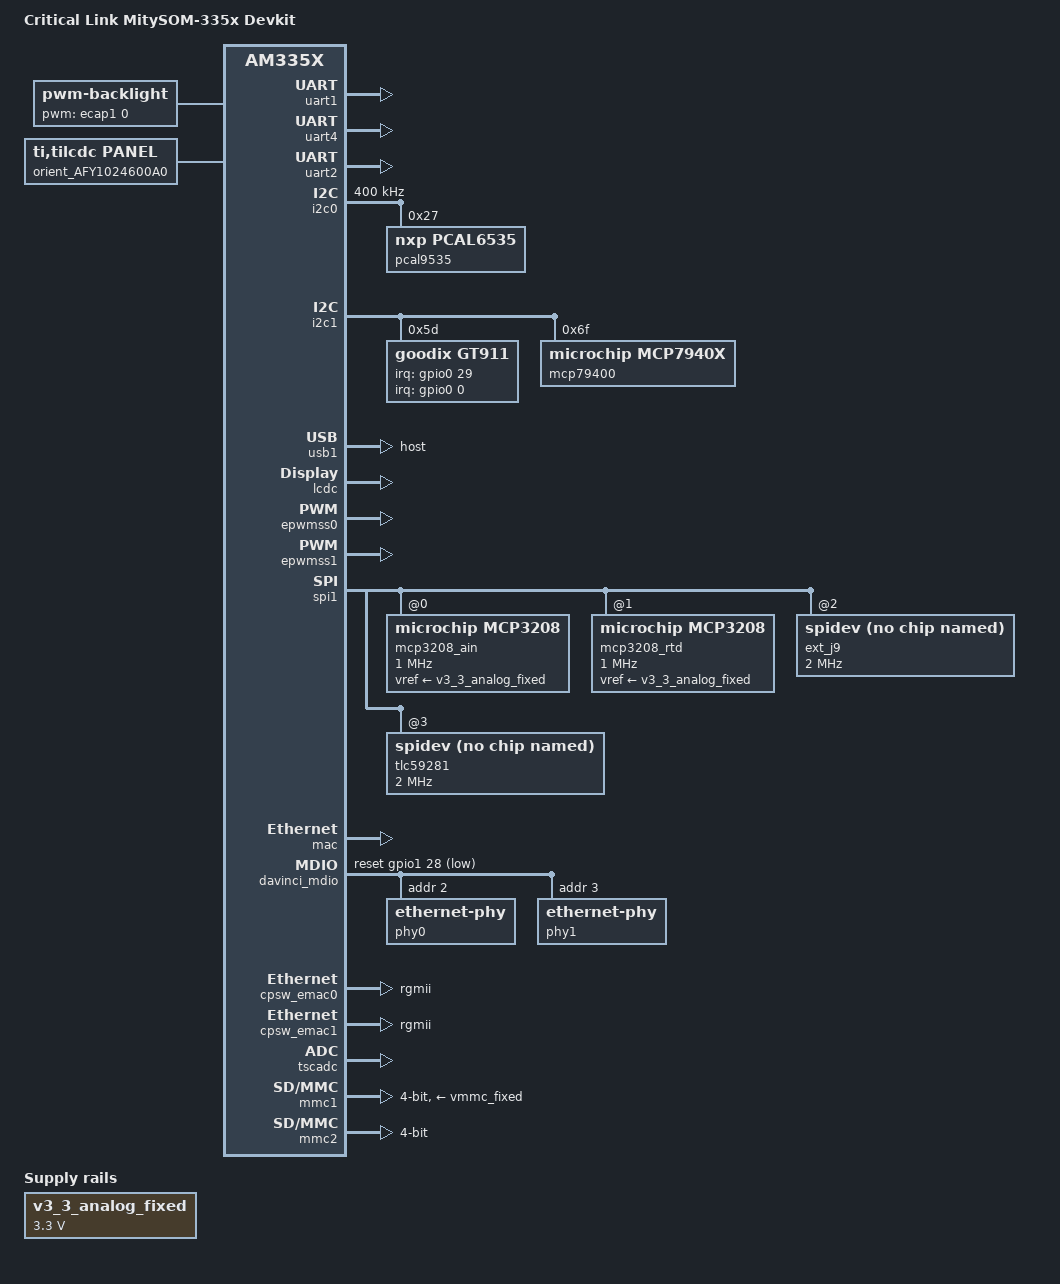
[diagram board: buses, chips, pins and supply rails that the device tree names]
/*
 * Copyright (C) 2012 Texas Instruments Incorporated - http://www.ti.com/
 *
 * This program is free software; you can redistribute it and/or modify
 * it under the terms of the GNU General Public License version 2 as
 * published by the Free Software Foundation.
 */
/dts-v1/;

#include "am335x-mitysom-common.dtsi"

/ {
	model = "Critical Link MitySOM-335x Devkit";

	backlight {
		compatible = "pwm-backlight";
		pwms = <&ecap1 0 50000 0>;
		brightness-levels = <0 51 53 56 62 75 101 152 255>;
		default-brightness-level = <8>;
	};

	orient_AFY1024600A0: lcd-controller@1 {
		compatible = "ti,tilcdc,panel";
		pinctrl-names = "default", "sleep";
		pinctrl-0 = <&lcd_pins_default>;
		pinctrl-1 = <&lcd_pins_sleep>;
		status = "ok";
		model = "orient,AFY1024600A0";
		panel-info {
			ac-bias           = <255>;
			ac-bias-intrpt    = <0>;
			dma-burst-sz      = <16>;
			bpp               = <32>;
			fdd               = <0x80>;
			sync-edge         = <0>;
			sync-ctrl         = <1>;
			raster-order      = <0>;
			fifo-th           = <0>;
		};
		display-timings {
			1024x600 {
				clock-frequency = <51200000>;
				hactive = <1024>;
				vactive = <600>;
				hsync-len = <136>;  //DS 136+24+60==320
				hfront-porch = <24>;
				hback-porch = <60>;
				vsync-len = <6>; // 26+3+6=35
				vfront-porch = <3>;
				vback-porch = <26>;
				hsync-active = <1>;
				vsync-active = <1>;
			};
		};
	};
};

&am33xx_pinmux {
	pinctrl-names = "default";
	pinctrl-0 = <&gpio_pins>;

	i2c0_pins: pinmux_i2c0_pins {
		pinctrl-single,pins = <
			AM33XX_IOPAD(0x988, PIN_INPUT_PULLUP | MUX_MODE0)	/* i2c0_sda.i2c0_sda external pullup */
			AM33XX_IOPAD(0x98C, PIN_INPUT_PULLUP | MUX_MODE0)	/* i2c0_scl.i2c0_scl external pullup */
		>;
	};

	/* MODBUS 1 */
	uart1_pins: pinmux_uart1_pins {
		pinctrl-single,pins = <
			AM33XX_IOPAD(0x958, PIN_INPUT_PULLDOWN | MUX_MODE7)	/* spi0_d1.gpio0_4 UART1_DIR */
			AM33XX_IOPAD(0x980, PIN_INPUT_PULLUP | MUX_MODE0)	/* uart1_rxd.uart1_rxd UART1_RX */
			AM33XX_IOPAD(0x984, PIN_OUTPUT_PULLDOWN | MUX_MODE0)	/* uart1_txd.uart1_txd UART1_TX */
		>;
	};

	/* MODBUS 2 */
	uart4_pins: pinmux_uart0_pins {
		pinctrl-single,pins = <
			AM33XX_IOPAD(0x838, PIN_INPUT_PULLDOWN | MUX_MODE7)	/* gpmc_ad14.gpio1_14 UART4_DIR */
			AM33XX_IOPAD(0x968, PIN_INPUT_PULLUP | MUX_MODE1)	/* uart0_ctsn.uart4_rxd UART4_RXD */
			AM33XX_IOPAD(0x96C, PIN_OUTPUT_PULLDOWN | MUX_MODE1)	/* uart0_rtsn.uart4_txd UART4_TXD */
		>;
	};

	/* ESP32 Uart */
	uart2_pins: pinmux_uart2_pins {
		pinctrl-single,pins = <
			AM33XX_IOPAD(0x950, PIN_INPUT | MUX_MODE1)		/* spi0_sclk.uart2_rxd U2RX */
			AM33XX_IOPAD(0x954, PIN_OUTPUT | MUX_MODE1)		/* spi0_d0.uart2_txd U2TX */
		>;
	};

	/* Conflicts with SPINOR SOMs */
	spi1_pins: pinmux_spi1_pins {
		pinctrl-single,pins = <
			AM33XX_IOPAD(0x83C, PIN_INPUT | MUX_MODE7)		/* gpmc_ad15.gpio1_15 SPI1_CS0 external pullup */
			AM33XX_IOPAD(0x95c, PIN_OUTPUT | MUX_MODE7)		/* spi0_cs0.gpio0_5 SPI1_CS1 external pullup */
			AM33XX_IOPAD(0x990, PIN_OUTPUT | MUX_MODE3)		/* mcasp0_aclkx.spi1_sclk */
			AM33XX_IOPAD(0x994, PIN_INPUT_PULLUP | MUX_MODE3)	/* mcasp0_fsx.spi1_d0 MOSI */
			AM33XX_IOPAD(0x998, PIN_INPUT_PULLDOWN | MUX_MODE3)	/* mcasp0_axr0.spi1_d1 MISO */
			AM33XX_IOPAD(0x99C, PIN_INPUT_PULLUP | MUX_MODE3)	/* mcasp0_ahclkr.spi1_cs0 SOM:CS0*/
			AM33XX_IOPAD(0x9B4, PIN_INPUT | MUX_MODE7)      	/* xdma_event_intr1.gpio0_20 7SEG_CS J16.48 external pullup */
			AM33XX_IOPAD(0xA1C, PIN_OUTPUT | MUX_MODE7)		/* usb0_drvvbus.gpio0_18 SPI1 EXT_CS external pullup */
		>;
	};

	cpsw_default: cpsw_default {
		pinctrl-single,pins = <
			/* Slave 1 */
			AM33XX_IOPAD(0x914, PIN_OUTPUT_PULLDOWN | MUX_MODE2)	/* mii1_txen.rgmii1_tctl */
			AM33XX_IOPAD(0x918, PIN_INPUT_PULLDOWN | MUX_MODE2)	/* mii1_rxdv.rgmii1_rctl */
			AM33XX_IOPAD(0x91c, PIN_OUTPUT_PULLDOWN | MUX_MODE2)	/* mii1_txd3.rgmii1_td3 */
			AM33XX_IOPAD(0x920, PIN_OUTPUT_PULLDOWN | MUX_MODE2)	/* mii1_txd2.rgmii1_td2 */
			AM33XX_IOPAD(0x924, PIN_OUTPUT_PULLDOWN | MUX_MODE2)	/* mii1_txd1.rgmii1_td1 */
			AM33XX_IOPAD(0x928, PIN_OUTPUT_PULLDOWN | MUX_MODE2)	/* mii1_txd0.rgmii1_td0 */
			AM33XX_IOPAD(0x92c, PIN_OUTPUT_PULLDOWN | MUX_MODE2)	/* mii1_txclk.rgmii1_tclk */
			AM33XX_IOPAD(0x930, PIN_INPUT_PULLDOWN | MUX_MODE2)	/* mii1_rxclk.rgmii1_rclk */
			AM33XX_IOPAD(0x934, PIN_INPUT_PULLDOWN | MUX_MODE2)	/* mii1_rxd3.rgmii1_rd3 */
			AM33XX_IOPAD(0x938, PIN_INPUT_PULLDOWN | MUX_MODE2)	/* mii1_rxd2.rgmii1_rd2 */
			AM33XX_IOPAD(0x93c, PIN_INPUT_PULLDOWN | MUX_MODE2)	/* mii1_rxd1.rgmii1_rd1 */
			AM33XX_IOPAD(0x940, PIN_INPUT_PULLDOWN | MUX_MODE2)	/* mii1_rxd0.rgmii1_rd0 */
			AM33XX_IOPAD(0x908, PIN_INPUT | MUX_MODE7)		/* mii1_col.gpio3_0 MII1_PHY_INTN external pullup */
			AM33XX_IOPAD(0x9A8, PIN_INPUT_PULLUP | MUX_MODE7) 	/* mcasp0_axr1.gpio3_20 MII1_RESETN */

			/* Slave 2 */
			AM33XX_IOPAD(0x840, PIN_OUTPUT | MUX_MODE2)		/* gpmc_a0.rgmii2_tctl */
			AM33XX_IOPAD(0x844, PIN_INPUT_PULLDOWN | MUX_MODE2)	/* gpmc_a1.rgmii2_rctl */
			AM33XX_IOPAD(0x848, PIN_OUTPUT | MUX_MODE2)		/* gpmc_a2.rgmii2_td3  */
			AM33XX_IOPAD(0x84C, PIN_OUTPUT | MUX_MODE2)		/* gpmc_a3.rgmii2_td2  */
			AM33XX_IOPAD(0x850, PIN_OUTPUT | MUX_MODE2)		/* gpmc_a4.rgmii2_td1  */
			AM33XX_IOPAD(0x854, PIN_OUTPUT | MUX_MODE2)		/* gpmc_a5.rgmii2_td0  */
			AM33XX_IOPAD(0x858, PIN_OUTPUT | MUX_MODE2)		/* gpmc_a6.rgmii2_tclk */
			AM33XX_IOPAD(0x85C, PIN_INPUT_PULLDOWN | MUX_MODE2)	/* gpmc_a7.rgmii2_rclk */
			AM33XX_IOPAD(0x860, PIN_INPUT_PULLDOWN | MUX_MODE2)	/* gpmc_a8.rgmii2_rd3  */
			AM33XX_IOPAD(0x864, PIN_INPUT_PULLDOWN | MUX_MODE2)	/* gpmc_a9.rgmii2_rd2  */
			AM33XX_IOPAD(0x868, PIN_INPUT_PULLDOWN | MUX_MODE2)	/* gpmc_a10.rgmii2_rd1 */
			AM33XX_IOPAD(0x86C, PIN_INPUT_PULLDOWN | MUX_MODE2)	/* gpmc_a11.rgmii2_rd0 */
			AM33XX_IOPAD(0x88c, PIN_INPUT | MUX_MODE7)		/* gpmc_clk.gpio2_1 MII2_PHY_INTN external pullup */
			AM33XX_IOPAD(0x878, PIN_INPUT_PULLUP | MUX_MODE7)	/* gpmc_ben1.gpio1_28 MII2_RESETN */
		>;
	};

	davinci_mdio_default: davinci_mdio_default {
		pinctrl-single,pins = <
			/* MDIO */
			AM33XX_IOPAD(0x948, PIN_INPUT_PULLUP | SLEWCTRL_FAST| MUX_MODE0)	/* mdio_data.mdio_data */
			AM33XX_IOPAD(0x94C, PIN_OUTPUT_PULLUP | MUX_MODE0)			/* mdio_clk.mdio_clk */
		>;
	};

	davinci_mdio_sleep: davinci_mdio_sleep {
		pinctrl-single,pins = <
			/* MDIO reset value */
			AM33XX_IOPAD(0x948, PIN_INPUT_PULLDOWN | MUX_MODE7)
			AM33XX_IOPAD(0x94C, PIN_INPUT_PULLDOWN | MUX_MODE7)
		>;
	};

	/* Setup for MMC0 */
	mmc1_pins_default: pinmux_mmc1_pins {
		pinctrl-single,pins = <
			AM33XX_IOPAD(0x8F0, PIN_INPUT_PULLUP | MUX_MODE0)	/* mmc0_dat3.mmc0_dat3 */
			AM33XX_IOPAD(0x8F4, PIN_INPUT_PULLUP | MUX_MODE0)	/* mmc0_dat2.mmc0_dat2 */
			AM33XX_IOPAD(0x8F8, PIN_INPUT_PULLUP | MUX_MODE0)	/* mmc0_dat1.mmc0_dat1 */
			AM33XX_IOPAD(0x8FC, PIN_INPUT_PULLUP | MUX_MODE0)	/* mmc0_dat0.mmc0_dat0 */
			AM33XX_IOPAD(0x900, PIN_INPUT_PULLUP | MUX_MODE0)	/* mmc0_clk.mmc0_clk */
			AM33XX_IOPAD(0x904, PIN_INPUT_PULLUP | MUX_MODE0)	/* mmc0_cmd.mmc0_cmd */
		>;
	};

	/* Setup for MMC1 */
	wlan_pins_default: pinmux_wlan_pins {
		pinctrl-single,pins = <
			AM33XX_IOPAD(0x820, PIN_INPUT_PULLUP | MUX_MODE2) /* gpmc_ad8.mmc1_dat0 */
			AM33XX_IOPAD(0x824, PIN_INPUT_PULLUP | MUX_MODE2) /* gpmc_ad9.mmc1_dat1 */
			AM33XX_IOPAD(0x828, PIN_INPUT_PULLUP | MUX_MODE2) /* gpmc_ad10.mmc1_dat2 */
			AM33XX_IOPAD(0x82c, PIN_INPUT_PULLUP | MUX_MODE2) /* gpmc_ad11.mmc1_dat3 */
			AM33XX_IOPAD(0x880, PIN_INPUT_PULLUP | MUX_MODE2) /* gpmc_csn1.mmc1_clk */
			AM33XX_IOPAD(0x884, PIN_INPUT_PULLUP | MUX_MODE2) /* gpmc_csn2.mmc1_cmd */
		>;
	};

	lcd_pins_default: lcd_pins_default {
		pinctrl-single,pins = <
			AM33XX_IOPAD(0x8A0, PIN_OUTPUT | MUX_MODE0)		/* lcd_data0.lcd_data0 */
			AM33XX_IOPAD(0x8A4, PIN_OUTPUT | MUX_MODE0)		/* lcd_data1.lcd_data1 */
			AM33XX_IOPAD(0x8A8, PIN_OUTPUT | MUX_MODE0)		/* lcd_data2.lcd_data2 */
			AM33XX_IOPAD(0x8AC, PIN_OUTPUT | MUX_MODE0)		/* lcd_data3.lcd_data3 */
			AM33XX_IOPAD(0x8B0, PIN_OUTPUT | MUX_MODE0)		/* lcd_data4.lcd_data4 */
			AM33XX_IOPAD(0x8B4, PIN_OUTPUT | MUX_MODE0)		/* lcd_data5.lcd_data5 */
			AM33XX_IOPAD(0x8B8, PIN_OUTPUT | MUX_MODE0)		/* lcd_data6.lcd_data6 */
			AM33XX_IOPAD(0x8BC, PIN_OUTPUT | MUX_MODE0)		/* lcd_data7.lcd_data7 */
			AM33XX_IOPAD(0x8C0, PIN_OUTPUT | MUX_MODE0)		/* lcd_data8.lcd_data8 */
			AM33XX_IOPAD(0x8C4, PIN_OUTPUT | MUX_MODE0)		/* lcd_data9.lcd_data9 */
			AM33XX_IOPAD(0x8C8, PIN_OUTPUT | MUX_MODE0)		/* lcd_data10.lcd_data10 */
			AM33XX_IOPAD(0x8CC, PIN_OUTPUT | MUX_MODE0)		/* lcd_data11.lcd_data11 */
			AM33XX_IOPAD(0x8D0, PIN_OUTPUT | MUX_MODE0)		/* lcd_data12.lcd_data12 */
			AM33XX_IOPAD(0x8D4, PIN_OUTPUT | MUX_MODE0)		/* lcd_data13.lcd_data13 */
			AM33XX_IOPAD(0x8D8, PIN_OUTPUT | MUX_MODE0)		/* lcd_data14.lcd_data14 */
			AM33XX_IOPAD(0x8DC, PIN_OUTPUT | MUX_MODE0)		/* lcd_data15.lcd_data15 */
			AM33XX_IOPAD(0x8E0, PIN_OUTPUT_PULLDOWN | MUX_MODE0)	/* lcd_vsync.lcd_vsync */
			AM33XX_IOPAD(0x8E4, PIN_OUTPUT_PULLDOWN | MUX_MODE0)	/* lcd_hsync.lcd_hsync */
			AM33XX_IOPAD(0x8E8, PIN_OUTPUT_PULLDOWN | MUX_MODE0)	/* lcd_pclk.lcd_pclk */
			AM33XX_IOPAD(0x8EC, PIN_OUTPUT_PULLDOWN | MUX_MODE0)	/* lcd_ac_bias_en.lcd_ac_bias_en */
		>;
	};

	lcd_pins_sleep: lcd_pins_sleep {
		pinctrl-single,pins = <
			AM33XX_IOPAD(0x8A0, PULL_DISABLE | MUX_MODE7)		/* lcd_data0.lcd_data0 */
			AM33XX_IOPAD(0x8A4, PULL_DISABLE | MUX_MODE7)		/* lcd_data1.lcd_data1 */
			AM33XX_IOPAD(0x8A8, PULL_DISABLE | MUX_MODE7)		/* lcd_data2.lcd_data2 */
			AM33XX_IOPAD(0x8AC, PULL_DISABLE | MUX_MODE7)		/* lcd_data3.lcd_data3 */
			AM33XX_IOPAD(0x8B0, PULL_DISABLE | MUX_MODE7)		/* lcd_data4.lcd_data4 */
			AM33XX_IOPAD(0x8B4, PULL_DISABLE | MUX_MODE7)		/* lcd_data5.lcd_data5 */
			AM33XX_IOPAD(0x8B8, PULL_DISABLE | MUX_MODE7)		/* lcd_data6.lcd_data6 */
			AM33XX_IOPAD(0x8BC, PULL_DISABLE | MUX_MODE7)		/* lcd_data7.lcd_data7 */
			AM33XX_IOPAD(0x8C0, PULL_DISABLE | MUX_MODE7)		/* lcd_data8.lcd_data8 */
			AM33XX_IOPAD(0x8C4, PULL_DISABLE | MUX_MODE7)		/* lcd_data9.lcd_data9 */
			AM33XX_IOPAD(0x8C8, PULL_DISABLE | MUX_MODE7)		/* lcd_data10.lcd_data10 */
			AM33XX_IOPAD(0x8CC, PULL_DISABLE | MUX_MODE7)		/* lcd_data11.lcd_data11 */
			AM33XX_IOPAD(0x8D0, PULL_DISABLE | MUX_MODE7)		/* lcd_data12.lcd_data12 */
			AM33XX_IOPAD(0x8D4, PULL_DISABLE | MUX_MODE7)		/* lcd_data13.lcd_data13 */
			AM33XX_IOPAD(0x8D8, PULL_DISABLE | MUX_MODE7)		/* lcd_data14.lcd_data14 */
			AM33XX_IOPAD(0x8DC, PULL_DISABLE | MUX_MODE7)		/* lcd_data15.lcd_data15 */
			AM33XX_IOPAD(0x8E0, PIN_INPUT_PULLDOWN | MUX_MODE7)	/* lcd_vsync.lcd_vsync */
			AM33XX_IOPAD(0x8E4, PIN_INPUT_PULLDOWN | MUX_MODE7)	/* lcd_hsync.lcd_hsync */
			AM33XX_IOPAD(0x8E8, PIN_INPUT_PULLDOWN | MUX_MODE7)	/* lcd_pclk.lcd_pclk */
			AM33XX_IOPAD(0x8EC, PIN_INPUT_PULLDOWN | MUX_MODE7)	/* lcd_ac_bias_en.lcd_ac_bias_en */
		>;
	};

	ecap_pins: ecap_pins {
		pinctrl-single,pins = <
			AM33XX_IOPAD(0x960, PIN_OUTPUT | MUX_MODE2)		/* spi0_cs1.ECAP1_IN_PWM1_OUT PWM J16.42 */
			AM33XX_IOPAD(0x964, PIN_INPUT | MUX_MODE0)		/* ecap0_in_pwm0_out.ecap0_in_pwm0_out ECAP J11.6 external pulldown*/
		>;
	};

	gpio_pins: gpio_pins {
		pinctrl-single,pins = <
			AM33XX_IOPAD(0x878, PIN_INPUT | MUX_MODE7)		/* gpmc_ad12.gpio1_28 ESP32_EN external pullup */
			AM33XX_IOPAD(0x834, PIN_INPUT_PULLDOWN | MUX_MODE7)	/* gpmc_ad13.gpio1_13 PROXIMITY J16.49 */
			AM33XX_IOPAD(0x944, PIN_INPUT | MUX_MODE7)		/* rmii1_refclk.gpio0_29 TS_INT external pullup */
			AM33XX_IOPAD(0x9A0, PIN_INPUT_PULLDOWN | MUX_MODE7)	/* mcasp0_aclkr.gpio3_18 RTD_A1 */
			AM33XX_IOPAD(0x9A4, PIN_INPUT_PULLDOWN | MUX_MODE7) 	/* mcasp0_fsr.gpio3_19 RTD_A0 */
			AM33XX_IOPAD(0x9AC, PIN_INPUT_PULLDOWN | MUX_MODE7) 	/* mcasp0_ahclkx.gpio3_14 RTD_A2 */
			AM33XX_IOPAD(0x9B0, PIN_INPUT_PULLDOWN | MUX_MODE7) 	/* xdma_event_intr0.gpio0_19 7SEG_OFF J16.47 */
			AM33XX_IOPAD(0x9E4, PIN_INPUT | MUX_MODE7)		/* emu0.gpio3_7 BUZZER J16.41 */
			AM33XX_IOPAD(0x9E8, PIN_INPUT | MUX_MODE7)		/* emu1.gpio3_8 DISP J16.30 */
		>;
	};
};

/* RS485 MODBUS 1 */
&uart1 {
	pinctrl-names = "default";
	pinctrl-0 = <&uart1_pins>;
	rts-gpio = <&gpio0 4 GPIO_ACTIVE_HIGH>;
	rs485-rts-delay =<0 0>;
	rs485-rts-active-high;
	/*rs485-rx-during-tx;*/
	linux,rs485-enabled-at-boot-time;
	status = "okay";
};

/* RS485 MODBUS 2 */
&uart4 {
	pinctrl-names = "default";
	pinctrl-0 = <&uart4_pins>;
	rts-gpio = <&gpio1 14 GPIO_ACTIVE_HIGH>;
	rs485-rts-delay =<0 0>;
	rs485-rts-active-high;
	/*rs485-rx-during-tx;*/
	linux,rs485-enabled-at-boot-time;
	status = "okay";
};

/* ESP32 - J17 */
&uart2 {
	pinctrl-names = "default";
	pinctrl-0 = <&uart2_pins>;

	status = "okay";
};

&i2c0 {
	pinctrl-names = "default";
	pinctrl-0 = <&i2c0_pins>;

	status = "okay";
	clock-frequency = <400000>;

	/* PCAL9535A 16-bit GPIO expander 0x27 */
	pcal9535: pcal9535@27 {
		compatible = "nxp,pcal6535"; /* TODO Backport driver */
		reg = <0x27>;
		gpio-controller;
		#gpio-cells = <2>;
		gpio-line-names =
		"RELAY_0", "RELAY_1", "RELAY_2", "RELAY_3",
		"", "", "", "",
		"TEMP_IN", "SPARE_IN", "DIGITAL_IN_4", "DIGITAL_IN_3",
		"DIGITAL_IN_2", "DIGITAL_IN_1", "", "";
	};

	/* MCP4728 12-bit Quad DAC 0x60 */
};

&i2c1 {
	/* SOM PMIC SmartReflex 0x12 */
	/* SOM Factory EEPROM 0x50 - 0x57 */

	/* Orient-GT911 TSC 0x5D */
	gt911@5d {
		compatible = "goodix,gt911";
		reg = <0x5d>;
		interrupt-parent = <&gpio0>;
		interrupts = <0 0>;

		irq-gpios = <&gpio0 29 GPIO_ACTIVE_HIGH>;
	};

	/* MCP7940N RTC 0x6F */
	mcp79400: mcp79400@6f {
		compatible = "microchip,mcp7940x";
		reg = <0x6f>;
	};
};

&usb1 {
	status = "okay";
	dr_mode = "host";
};

&lcdc {
	status = "okay";
};

&epwmss0 {
	status = "okay";

	ecap0: ecap@48300100 {
		status = "okay";
		pinctrl-names = "default";
		pinctrl-0 = <&ecap_pins>;
	};
};

&epwmss1 {
	status = "okay";

	ecap1: ecap@48302100 {
		status = "okay";
	};
};

/ {
	v3_3_analog_fixed: fixedregulator@2 {
		compatible = "regulator-fixed";
		regulator-name = "v3.3_analog_fixed";
		regulator-min-microvolt = <3300000>;
		regulator-max-microvolt = <3300000>;
		regulator-boot-on;
	};
};

&spi1 {
	pinctrl-names = "default";
	pinctrl-0 = <&spi1_pins>;
	/* CS0 On-SOM NOR */

	/* SPI1_CS0 - gpio0_5 MCP3208 */
	mcp3208_ain@0 {
		compatible = "microchip,mcp3208";
		// reg = <0>;
		spi-max-frequency = <1000000>;
		vref-supply = <&v3_3_analog_fixed>;
	};

	/* SPI1_CS1 - gpio1_9 MCP3208 */
	mcp3208_rtd@1 {
		compatible = "microchip,mcp3208";
		// reg = <0>;
		spi-max-frequency = <1000000>;
		vref-supply = <&v3_3_analog_fixed>;
	};

	/* EXT_CS - gpio0_18 J9 Connector */
	ext_j9: ext_j9@2 {
		compatible = "spidev";
		// reg = <0x0>;
		status = "okay";

		spi-max-frequency = <2000000>;
	};

	/* 7SEG_CS - gpio0_20 */
	tlc59281: tlc59281@3 {
		compatible = "spidev";
		// reg = <0x0>;
		status = "okay";

		spi-max-frequency = <2000000>;
	};
};

&mac {
	pinctrl-names = "default";
	pinctrl-0 = <&cpsw_default>;
	status = "okay";
};

&davinci_mdio {
	pinctrl-names = "default", "sleep";
	pinctrl-0 = <&davinci_mdio_default>;
	pinctrl-1 = <&davinci_mdio_sleep>;
	status = "okay";

	reset-gpios = <&gpio1 28 GPIO_ACTIVE_LOW>,
		      <&gpio3 20 GPIO_ACTIVE_LOW>;
	reset-delay-us = <2>;

	phy0: ethernet-phy@0 {
		reg = <2>;
		/* Restrict phy to 10/100 due to magnetics */
		max-speed = <100>;
	};
	phy1: ethernet-phy@1 {
		reg = <3>;
		/* Restrict phy to 10/100 due to magnetics */
		max-speed = <100>;
	};
};

&cpsw_emac0 {
	phy_id = <&davinci_mdio>, <2>;
	phy-mode = "rgmii";
};

&cpsw_emac1 {
	phy_id = <&davinci_mdio>, <3>;
	phy-mode = "rgmii";
};

/* ADC */
&tscadc {
	status = "okay";
	/* XR, YD, XL, YI, GND, 3.3V/2, 3.3V/2, GND */
	// tsc {
	// 	ti,wires = <4>;
	// 	ti,x-plate-resistance = <200>;
	// 	ti,coordinate-readouts = <5>;
	// 	ti,wire-config = <0x00 0x11 0x22 0x33>;
	// 	ti,charge-delay = <0x400>;
	// };

	adc {
		ti,adc-channels = <5 6>;
	};
};

&mmc1 {
	pinctrl-names = "default";
	pinctrl-0 = <&mmc1_pins_default>;
	status = "okay";
	vmmc-supply = <&vmmc_fixed>;
	bus-width = <4>;
};

&mmc2 {
	pinctrl-names = "default";
	pinctrl-0 = <&wlan_pins_default>;
	status = "okay";
	bus-width = <4>;
};

&rtc {
	system-power-controller;
};
